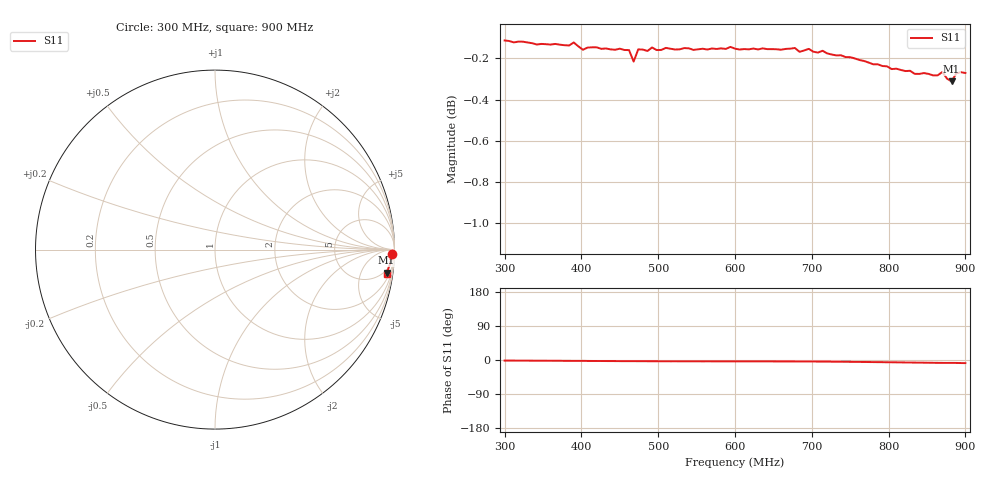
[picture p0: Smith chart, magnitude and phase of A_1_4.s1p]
# HZ S RI R 50
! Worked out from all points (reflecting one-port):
!   101 points, 300 MHz to 900 MHz, reference 50 ohm
!   lowest |S11| = -0.3 dB at 882 MHz (marker M1), VSWR 55.69, Z = 187 - j696 ohm
!   phase of S11 starts at -2 deg and turns -7 deg over the sweep
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3e8  0.9868 -0.0265
3.78e8  0.9838 -0.0371
3.9e8  0.9852 -0.0395
3.96e8  0.9831 -0.0403
4.02e8  0.9812 -0.0388
4.14e8  0.9824 -0.0439
4.5e8  0.9813 -0.0508
4.62e8  0.9804 -0.0525
4.68e8  0.9742 -0.0519
4.74e8  0.9807 -0.054
5.28e8  0.9804 -0.0594
6e8  0.9808 -0.0604
6.78e8  0.9807 -0.0664
6.84e8  0.9786 -0.0676
6.96e8  0.9801 -0.0686
7.02e8  0.9786 -0.0679
7.14e8  0.9788 -0.0725
7.5e8  0.9745 -0.0821
8.04e8  0.9661 -0.102
8.28e8  0.964 -0.1119
8.34e8  0.962 -0.1152
8.58e8  0.9599 -0.1247
8.7e8  0.9613 -0.1291
8.76e8  0.9575 -0.1303
8.82e8  0.9561 -0.1288
8.88e8  0.9602 -0.1306
8.94e8  0.9602 -0.1361
9e8  0.9594 -0.1384
